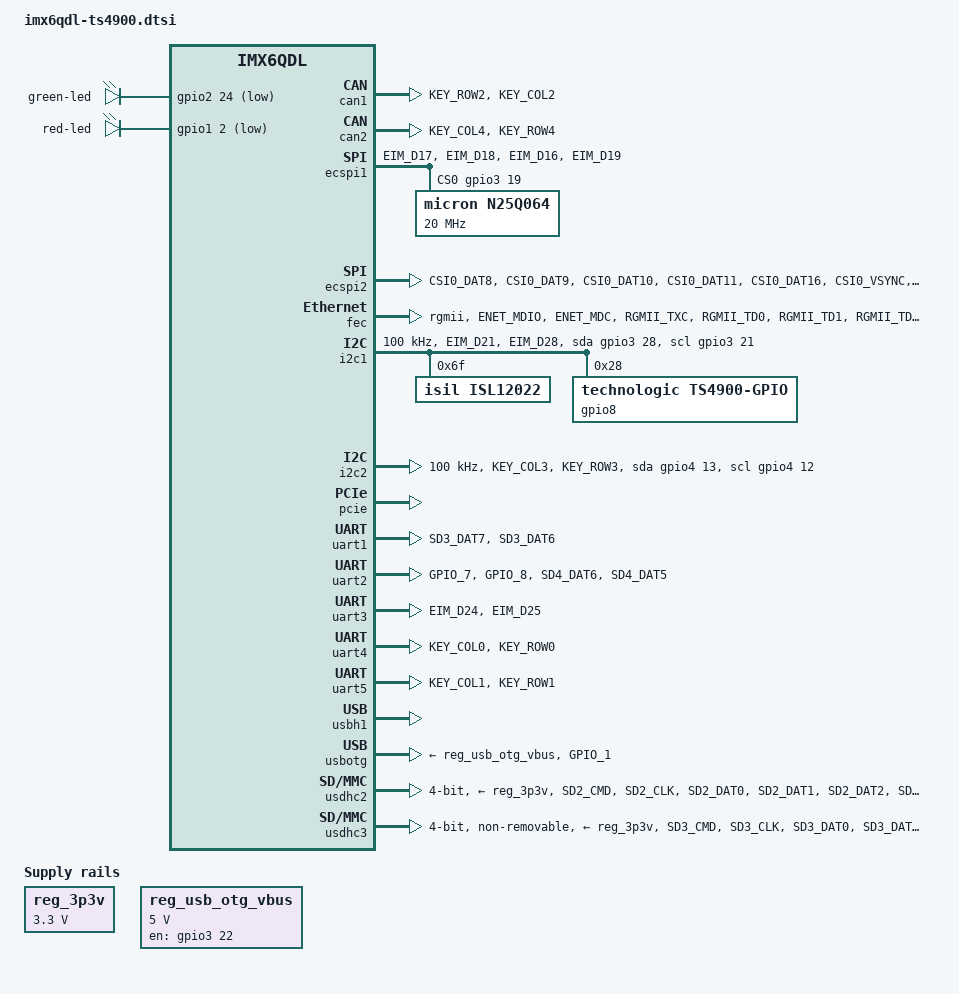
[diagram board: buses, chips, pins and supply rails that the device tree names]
/*
 * Copyright 2015 Technologic Systems
 *
 * This file is dual-licensed: you can use it either under the terms
 * of the GPL or the X11 license, at your option. Note that this dual
 * licensing only applies to this file, and not this project as a
 * whole.
 *
 *  a) This file is free software; you can redistribute it and/or
 *     modify it under the terms of the GNU General Public License
 *     version 2 as published by the Free Software Foundation.
 *
 *     This file is distributed in the hope that it will be useful,
 *     but WITHOUT ANY WARRANTY; without even the implied warranty of
 *     MERCHANTABILITY or FITNESS FOR A PARTICULAR PURPOSE.  See the
 *     GNU General Public License for more details.
 *
 * Or, alternatively,
 *
 *  b) Permission is hereby granted, free of charge, to any person
 *     obtaining a copy of this software and associated documentation
 *     files (the "Software"), to deal in the Software without
 *     restriction, including without limitation the rights to use,
 *     copy, modify, merge, publish, distribute, sublicense, and/or
 *     sell copies of the Software, and to permit persons to whom the
 *     Software is furnished to do so, subject to the following
 *     conditions:
 *
 *     The above copyright notice and this permission notice shall be
 *     included in all copies or substantial portions of the Software.
 *
 *     THE SOFTWARE IS PROVIDED "AS IS", WITHOUT WARRANTY OF ANY KIND,
 *     EXPRESS OR IMPLIED, INCLUDING BUT NOT LIMITED TO THE WARRANTIES
 *     OF MERCHANTABILITY, FITNESS FOR A PARTICULAR PURPOSE AND
 *     NONINFRINGEMENT. IN NO EVENT SHALL THE AUTHORS OR COPYRIGHT
 *     HOLDERS BE LIABLE FOR ANY CLAIM, DAMAGES OR OTHER LIABILITY,
 *     WHETHER IN AN ACTION OF CONTRACT, TORT OR OTHERWISE, ARISING
 *     FROM, OUT OF OR IN CONNECTION WITH THE SOFTWARE OR THE USE OR
 *     OTHER DEALINGS IN THE SOFTWARE.
 */

#include <dt-bindings/gpio/gpio.h>
#include <dt-bindings/interrupt-controller/irq.h>

/ {
	aliases {
		ethernet0 = &fec;
	};

	leds {
		pinctrl-names = "default";
		pinctrl-0 = <&pinctrl_leds1>;
		compatible = "gpio-leds";

		green-led {
			label = "green-led";
			gpios = <&gpio2 24 GPIO_ACTIVE_LOW>;
			default-state = "on";
		};

		red-led {
			label = "red-led";
			gpios = <&gpio1 2 GPIO_ACTIVE_LOW>;
			default-state = "off";
		};
	};

	reg_3p3v: regulator-3p3v {
		compatible = "regulator-fixed";
		regulator-name = "3p3v";
		regulator-min-microvolt = <3300000>;
		regulator-max-microvolt = <3300000>;
	};

	reg_usb_otg_vbus: regulator-usb-otg-vbus {
		compatible = "regulator-fixed";
		regulator-name = "usb_otg_vbus";
		regulator-min-microvolt = <5000000>;
		regulator-max-microvolt = <5000000>;
		gpio = <&gpio3 22 GPIO_ACTIVE_HIGH>;
		enable-active-high;
	};
};

&can1 {
	pinctrl-names = "default";
	pinctrl-0 = <&pinctrl_flexcan1>;
	status = "okay";
};

&can2 {
	pinctrl-names = "default";
	pinctrl-0 = <&pinctrl_flexcan2>;
	status = "okay";
};

&ecspi1 {
	cs-gpios = <&gpio3 19 GPIO_ACTIVE_HIGH>;
	pinctrl-names = "default";
	pinctrl-0 = <&pinctrl_ecspi1>;
	status = "okay";

	n25q064: flash@0 {
		compatible = "micron,n25q064", "jedec,spi-nor";
		reg = <0>;
		spi-max-frequency = <20000000>;
	};
};

&ecspi2 {
	cs-gpios = <&gpio6 2 GPIO_ACTIVE_HIGH>;
	pinctrl-names = "default";
	pinctrl-0 = <&pinctrl_ecspi2>;
	status = "okay";
};

&fec {
	pinctrl-names = "default";
	pinctrl-0 = <&pinctrl_enet>;
	phy-mode = "rgmii";
	status = "okay";
};

&i2c1 {
	clock-frequency = <100000>;
	pinctrl-names = "default", "gpio";
	pinctrl-0 = <&pinctrl_i2c1>;
	pinctrl-1 = <&pinctrl_i2c1_gpio>;
	scl-gpios = <&gpio3 21 GPIO_ACTIVE_HIGH>;
	sda-gpios = <&gpio3 28 GPIO_ACTIVE_HIGH>;
	status = "okay";

	isl12022: rtc@6f {
		compatible = "isil,isl12022";
		reg = <0x6f>;
	};

	gpio8: gpio@28 {
		compatible = "technologic,ts4900-gpio";
		reg = <0x28>;
		#gpio-cells = <2>;
		gpio-controller;
		ngpio = <32>;
	};
};

&i2c2 {
	clock-frequency = <100000>;
	pinctrl-names = "default", "gpio";
	pinctrl-0 = <&pinctrl_i2c2>;
	pinctrl-1 = <&pinctrl_i2c2_gpio>;
	scl-gpios = <&gpio4 12 GPIO_ACTIVE_HIGH>;
	sda-gpios = <&gpio4 13 GPIO_ACTIVE_HIGH>;
	status = "okay";
};

&iomuxc {
	pinctrl-names = "default";
	pinctrl-0 = <&pinctrl_hog>;

	pinctrl_ecspi1: ecspi1grp {
		fsl,pins = <
			MX6QDL_PAD_EIM_D17__ECSPI1_MISO		0x100b1
			MX6QDL_PAD_EIM_D18__ECSPI1_MOSI		0x100b1
			MX6QDL_PAD_EIM_D16__ECSPI1_SCLK		0x100b1
			MX6QDL_PAD_EIM_D19__GPIO3_IO19		0x100b1 /* Onboard flash CS1# */
		>;
	};

	pinctrl_ecspi2: ecspi2grp {
		fsl,pins = <
			MX6QDL_PAD_CSI0_DAT8__ECSPI2_SCLK	0x100b1
			MX6QDL_PAD_CSI0_DAT9__ECSPI2_MOSI	0x100b1
			MX6QDL_PAD_CSI0_DAT10__ECSPI2_MISO	0x100b1
			MX6QDL_PAD_CSI0_DAT11__GPIO5_IO29	0x100b1 /* Offboard CS0# */
			MX6QDL_PAD_CSI0_DAT16__GPIO6_IO02	0x100b1 /* FPGA CS1# */
			MX6QDL_PAD_CSI0_VSYNC__GPIO5_IO21	0x1b0b1 /* FPGA_RESET# */
			MX6QDL_PAD_CSI0_DATA_EN__GPIO5_IO20	0x1b0b1 /* FPGA_DONE */
			MX6QDL_PAD_GPIO_3__XTALOSC_REF_CLK_24M	0x10    /* FPGA 24MHZ */
			MX6QDL_PAD_GPIO_4__GPIO1_IO04		0x1b0b1 /* FPGA_IRQ */
		>;
	};

	pinctrl_enet: enetgrp {
		fsl,pins = <
			MX6QDL_PAD_ENET_MDIO__ENET_MDIO		0x1b0b0
			MX6QDL_PAD_ENET_MDC__ENET_MDC		0x1b0b0
			MX6QDL_PAD_RGMII_TXC__RGMII_TXC		0x1b030
			MX6QDL_PAD_RGMII_TD0__RGMII_TD0		0x1b030
			MX6QDL_PAD_RGMII_TD1__RGMII_TD1		0x1b030
			MX6QDL_PAD_RGMII_TD2__RGMII_TD2		0x1b030
			MX6QDL_PAD_RGMII_TD3__RGMII_TD3		0x1b030
			MX6QDL_PAD_RGMII_TX_CTL__RGMII_TX_CTL	0x1b030
			MX6QDL_PAD_RGMII_RXC__RGMII_RXC		0x1b030
			MX6QDL_PAD_RGMII_RD0__RGMII_RD0		0x1b030
			MX6QDL_PAD_RGMII_RD1__RGMII_RD1		0x1b030
			MX6QDL_PAD_RGMII_RD2__RGMII_RD2		0x1b030
			MX6QDL_PAD_RGMII_RD3__RGMII_RD3		0x1b030
			MX6QDL_PAD_RGMII_RX_CTL__RGMII_RX_CTL	0x1b030
			MX6QDL_PAD_ENET_REF_CLK__ENET_TX_CLK	0x4001b0a8
			MX6QDL_PAD_ENET_TX_EN__GPIO1_IO28	0x1b0b1
			MX6QDL_PAD_DI0_PIN4__GPIO4_IO20		0x1b0b1 /* ETH_PHY_RESET */
		>;
	};

	pinctrl_flexcan1: flexcan1grp {
		fsl,pins = <
			MX6QDL_PAD_KEY_ROW2__FLEXCAN1_RX	0x1b0b1
			MX6QDL_PAD_KEY_COL2__FLEXCAN1_TX	0x1b0b1
		>;
	};

	pinctrl_flexcan2: flexcan2grp {
		fsl,pins = <
			MX6QDL_PAD_KEY_COL4__FLEXCAN2_TX	0x1b0b1
			MX6QDL_PAD_KEY_ROW4__FLEXCAN2_RX	0x1b0b1
		>;
	};

	pinctrl_hog: hoggrp {
		fsl,pins = <
			MX6QDL_PAD_EIM_A17__GPIO2_IO21		0x1b0b1 /* OFF_BD_RESET# */
			MX6QDL_PAD_EIM_A16__GPIO2_IO22		0x1b0b1 /* EN_USB_5V# */
			MX6QDL_PAD_EIM_A19__GPIO2_IO19		0x1b0b1 /* EN_LCD_3.3V */
			MX6QDL_PAD_GPIO_0__CCM_CLKO1		0x130b0 /* Audio CLK */
			MX6QDL_PAD_GPIO_5__GPIO1_IO05		0x1b0b1 /* DIO_1 */
			MX6QDL_PAD_GPIO_6__GPIO1_IO06		0x1b0b1 /* DIO_2 */
			MX6QDL_PAD_GPIO_9__GPIO1_IO09		0x1b0b1 /* DIO_3 */
			MX6QDL_PAD_GPIO_16__GPIO7_IO11		0x1b0b1 /* DIO_4 */
			MX6QDL_PAD_GPIO_17__GPIO7_IO12		0x1b0b1 /* DIO_5 */
			MX6QDL_PAD_GPIO_19__GPIO4_IO05		0x1b0b1 /* DIO_7 */
			MX6QDL_PAD_CSI0_MCLK__GPIO5_IO19	0x1b0b1 /* DIO_8 */
			MX6QDL_PAD_CSI0_PIXCLK__GPIO5_IO18	0x1b0b1 /* DIO_9 */
			MX6QDL_PAD_CSI0_DAT12__GPIO5_IO30	0x1b0b1 /* DIO_0 */
			MX6QDL_PAD_CSI0_DAT13__GPIO5_IO31	0x1b0b1 /* DIO_6 */
			MX6QDL_PAD_CSI0_DAT17__GPIO6_IO03	0x1b0b1 /* CPU_DIO_A */
			MX6QDL_PAD_SD4_DAT7__GPIO2_IO15		0x1b0b1 /* DIO_2 */
			MX6QDL_PAD_SD3_RST__GPIO7_IO08		0x1b0b1 /* CPU_DIO_B */
			MX6QDL_PAD_EIM_LBA__GPIO2_IO27		0x1b0b1 /* BUS_ALE# */
			MX6QDL_PAD_EIM_OE__GPIO2_IO25		0x1b0b1 /* DIO_15 */
			MX6QDL_PAD_EIM_RW__GPIO2_IO26		0x1b0b1 /* BUS_DIR */
			MX6QDL_PAD_EIM_CS0__GPIO2_IO23		0x1b0b1 /* BUS_CS# */
			MX6QDL_PAD_EIM_A18__GPIO2_IO20		0x1b0b1 /* DIO_14 */
			MX6QDL_PAD_EIM_A20__GPIO2_IO18		0x1b0b1 /* DIO_16 */
			MX6QDL_PAD_EIM_A21__GPIO2_IO17		0x1b0b1 /* DIO_12 */
			MX6QDL_PAD_EIM_A22__GPIO2_IO16		0x1b0b1 /* DIO_18 */
			MX6QDL_PAD_EIM_A23__GPIO6_IO06		0x1b0b1 /* DIO_19 */
			MX6QDL_PAD_EIM_A24__GPIO5_IO04		0x1b0b1 /* DIO_20 */
			MX6QDL_PAD_EIM_D31__GPIO3_IO31		0x1b0b1 /* BUS_BHE# */
			MX6QDL_PAD_EIM_BCLK__GPIO6_IO31		0x1b0b1 /* DIO_13 */
			MX6QDL_PAD_EIM_WAIT__GPIO5_IO00		0x1b0b1 /* EIM_WAIT# */
			MX6QDL_PAD_EIM_EB1__GPIO2_IO29		0x1b0b1 /* DIO_10 */
			MX6QDL_PAD_EIM_DA0__GPIO3_IO00		0x1b0b1 /* MUX_AD_00 */
			MX6QDL_PAD_EIM_DA1__GPIO3_IO01		0x1b0b1 /* MUX_AD_01 */
			MX6QDL_PAD_EIM_DA2__GPIO3_IO02		0x1b0b1 /* MUX_AD_02 */
			MX6QDL_PAD_EIM_DA3__GPIO3_IO03		0x1b0b1 /* MUX_AD_03 */
			MX6QDL_PAD_EIM_DA4__GPIO3_IO04		0x1b0b1 /* MUX_AD_04 */
			MX6QDL_PAD_EIM_DA5__GPIO3_IO05		0x1b0b1 /* MUX_AD_05 */
			MX6QDL_PAD_EIM_DA6__GPIO3_IO06		0x1b0b1 /* MUX_AD_06 */
			MX6QDL_PAD_EIM_DA7__GPIO3_IO07		0x1b0b1 /* MUX_AD_07 */
			MX6QDL_PAD_EIM_DA8__GPIO3_IO08		0x1b0b1 /* MUX_AD_08 */
			MX6QDL_PAD_EIM_DA9__GPIO3_IO09		0x1b0b1 /* MUX_AD_09 */
			MX6QDL_PAD_EIM_DA10__GPIO3_IO10		0x1b0b1 /* MUX_AD_10 */
			MX6QDL_PAD_EIM_DA11__GPIO3_IO11		0x1b0b1 /* MUX_AD_11 */
			MX6QDL_PAD_EIM_DA12__GPIO3_IO12		0x1b0b1 /* MUX_AD_12 */
			MX6QDL_PAD_EIM_DA13__GPIO3_IO13		0x1b0b1 /* MUX_AD_13 */
			MX6QDL_PAD_EIM_DA14__GPIO3_IO14		0x1b0b1 /* MUX_AD_14 */
			MX6QDL_PAD_EIM_DA15__GPIO3_IO15		0x1b0b1 /* MUX_AD_15 */
			MX6QDL_PAD_DI0_DISP_CLK__GPIO4_IO16	0x1b0b1 /* LCD_CLK */
			MX6QDL_PAD_DI0_PIN15__GPIO4_IO17	0x1b0b1 /* DE */
			MX6QDL_PAD_DI0_PIN2__GPIO4_IO18		0x1b0b1 /* Hsync */
			MX6QDL_PAD_DI0_PIN3__GPIO4_IO19		0x1b0b1 /* Vsync */
			MX6QDL_PAD_DISP0_DAT0__GPIO4_IO21	0x1b0b1
			MX6QDL_PAD_DISP0_DAT1__GPIO4_IO22	0x1b0b1
			MX6QDL_PAD_DISP0_DAT2__GPIO4_IO23	0x1b0b1
			MX6QDL_PAD_DISP0_DAT3__GPIO4_IO24	0x1b0b1
			MX6QDL_PAD_DISP0_DAT4__GPIO4_IO25	0x1b0b1
			MX6QDL_PAD_DISP0_DAT5__GPIO4_IO26	0x1b0b1
			MX6QDL_PAD_DISP0_DAT6__GPIO4_IO27	0x1b0b1
			MX6QDL_PAD_DISP0_DAT7__GPIO4_IO28	0x1b0b1
			MX6QDL_PAD_DISP0_DAT8__GPIO4_IO29	0x1b0b1
			MX6QDL_PAD_DISP0_DAT9__GPIO4_IO30	0x1b0b1
			MX6QDL_PAD_DISP0_DAT10__GPIO4_IO31	0x1b0b1
			MX6QDL_PAD_DISP0_DAT11__GPIO5_IO05	0x1b0b1
			MX6QDL_PAD_DISP0_DAT12__GPIO5_IO06	0x1b0b1
			MX6QDL_PAD_DISP0_DAT13__GPIO5_IO07	0x1b0b1
			MX6QDL_PAD_DISP0_DAT14__GPIO5_IO08	0x1b0b1
			MX6QDL_PAD_DISP0_DAT15__GPIO5_IO09	0x1b0b1
			MX6QDL_PAD_DISP0_DAT16__GPIO5_IO10	0x1b0b1
			MX6QDL_PAD_DISP0_DAT17__GPIO5_IO11	0x1b0b1
			MX6QDL_PAD_DISP0_DAT18__GPIO5_IO12	0x1b0b1
			MX6QDL_PAD_DISP0_DAT19__GPIO5_IO13	0x1b0b1
			MX6QDL_PAD_DISP0_DAT20__GPIO5_IO14	0x1b0b1
			MX6QDL_PAD_DISP0_DAT21__GPIO5_IO15	0x1b0b1
			MX6QDL_PAD_DISP0_DAT22__GPIO5_IO16	0x1b0b1
			MX6QDL_PAD_DISP0_DAT23__GPIO5_IO17	0x1b0b1
		>;
	};

	pinctrl_i2c1: i2c1grp {
		fsl,pins = <
			MX6QDL_PAD_EIM_D21__I2C1_SCL		0x4001b8b1
			MX6QDL_PAD_EIM_D28__I2C1_SDA		0x4001b8b1
		>;
	};

	pinctrl_i2c1_gpio: i2c1gpiogrp {
		fsl,pins = <
			MX6QDL_PAD_EIM_D21__GPIO3_IO21		0x4001b8b1
			MX6QDL_PAD_EIM_D28__GPIO3_IO28		0x4001b8b1
		>;
	};

	pinctrl_i2c2: i2c2grp {
		fsl,pins = <
			MX6QDL_PAD_KEY_COL3__I2C2_SCL		0x4001b8b1
			MX6QDL_PAD_KEY_ROW3__I2C2_SDA		0x4001b8b1
		>;
	};

	pinctrl_i2c2_gpio: i2c2gpiogrp {
		fsl,pins = <
			MX6QDL_PAD_KEY_COL3__GPIO4_IO12		0x4001b8b1
			MX6QDL_PAD_KEY_ROW3__GPIO4_IO13		0x4001b8b1
		>;
	};

	pinctrl_leds1: leds1grp {
		fsl,pins = <
			MX6QDL_PAD_GPIO_2__GPIO1_IO02		0x1b0b1 /* RED_LED# */
			MX6QDL_PAD_EIM_CS1__GPIO2_IO24		0x1b0b1 /* GREEN_LED# */
		>;
	};

	pinctrl_uart1: uart1grp {
		fsl,pins = <
			MX6QDL_PAD_SD3_DAT7__UART1_TX_DATA	0x1b0b1
			MX6QDL_PAD_SD3_DAT6__UART1_RX_DATA	0x1b0b1
		>;
	};

	pinctrl_uart2: uart2grp {
		fsl,pins = <
			MX6QDL_PAD_GPIO_7__UART2_TX_DATA	0x1b0b1
			MX6QDL_PAD_GPIO_8__UART2_RX_DATA	0x1b0b1
			MX6QDL_PAD_SD4_DAT6__UART2_CTS_B	0x1b0b1
			MX6QDL_PAD_SD4_DAT5__UART2_RTS_B	0x1b0b1
		>;
	};

	pinctrl_uart3: uart3grp {
		fsl,pins = <
			MX6QDL_PAD_EIM_D24__UART3_TX_DATA	0x1b0b1
			MX6QDL_PAD_EIM_D25__UART3_RX_DATA	0x1b0b1
		>;
	};

	pinctrl_uart4: uart4grp {
		fsl,pins = <
			MX6QDL_PAD_KEY_COL0__UART4_TX_DATA	0x1b0b1
			MX6QDL_PAD_KEY_ROW0__UART4_RX_DATA	0x1b0b1
		>;
	};

	pinctrl_uart5: uart5grp {
		fsl,pins = <
			MX6QDL_PAD_KEY_COL1__UART5_TX_DATA	0x1b0b1
			MX6QDL_PAD_KEY_ROW1__UART5_RX_DATA	0x1b0b1
		>;
	};

	pinctrl_usbotg: usbotggrp {
		fsl,pins = <
			MX6QDL_PAD_GPIO_1__USB_OTG_ID		0x17059
		>;
	};

	pinctrl_usdhc1: usdhc1grp {
		fsl,pins = <
			MX6QDL_PAD_SD1_CMD__SD1_CMD		0x17059
			MX6QDL_PAD_SD1_CLK__SD1_CLK		0x10059
			MX6QDL_PAD_SD1_DAT0__SD1_DATA0		0x17059
			MX6QDL_PAD_SD1_DAT1__SD1_DATA1		0x17059
			MX6QDL_PAD_SD1_DAT2__SD1_DATA2		0x17059
			MX6QDL_PAD_SD1_DAT3__SD1_DATA3		0x17059
			MX6QDL_PAD_ENET_RXD1__GPIO1_IO26	0x17059 /* WIFI IRQ */
		>;
	};

	pinctrl_usdhc2: usdhc2grp {
		fsl,pins = <
			MX6QDL_PAD_SD2_CMD__SD2_CMD		0x17059
			MX6QDL_PAD_SD2_CLK__SD2_CLK		0x10059
			MX6QDL_PAD_SD2_DAT0__SD2_DATA0		0x17059
			MX6QDL_PAD_SD2_DAT1__SD2_DATA1		0x17059
			MX6QDL_PAD_SD2_DAT2__SD2_DATA2		0x17059
			MX6QDL_PAD_SD2_DAT3__SD2_DATA3		0x17059
			MX6QDL_PAD_EIM_EB0__GPIO2_IO28		0x1b0b1 /* EN_SD_POWER# */
		>;
	};

	pinctrl_usdhc3: usdhc3grp {
		fsl,pins = <
			MX6QDL_PAD_SD3_CMD__SD3_CMD		0x17059
			MX6QDL_PAD_SD3_CLK__SD3_CLK		0x10059
			MX6QDL_PAD_SD3_DAT0__SD3_DATA0		0x17059
			MX6QDL_PAD_SD3_DAT1__SD3_DATA1		0x17059
			MX6QDL_PAD_SD3_DAT2__SD3_DATA2		0x17059
			MX6QDL_PAD_SD3_DAT3__SD3_DATA3		0x17059
		>;
	};
};

&pcie {
	status = "okay";
};

&uart1 {
	pinctrl-names = "default";
	pinctrl-0 = <&pinctrl_uart1>;
	status = "okay";
};

&uart2 {
	pinctrl-names = "default";
	pinctrl-0 = <&pinctrl_uart2>;
	uart-has-rtscts;
	status = "okay";
};

&uart3 {
	pinctrl-names = "default";
	pinctrl-0 = <&pinctrl_uart3>;
	status = "okay";
};

&uart4 {
	pinctrl-names = "default";
	pinctrl-0 = <&pinctrl_uart4>;
	status = "okay";
};

&uart5 {
	pinctrl-names = "default";
	pinctrl-0 = <&pinctrl_uart5>;
	status = "okay";
};

&usbh1 {
	status = "okay";
};

&usbotg {
	vbus-supply = <&reg_usb_otg_vbus>;
	pinctrl-names = "default";
	pinctrl-0 = <&pinctrl_usbotg>;
	disable-over-current;
	status = "okay";
};

/* SD */
&usdhc2 {
	pinctrl-names = "default";
	pinctrl-0 = <&pinctrl_usdhc2>;
	vmmc-supply = <&reg_3p3v>;
	bus-width = <4>;
	fsl,wp-controller;
	status = "okay";
};

/* eMMC */
&usdhc3 {
	pinctrl-names = "default";
	pinctrl-0 = <&pinctrl_usdhc3>;
	vmmc-supply = <&reg_3p3v>;
	bus-width = <4>;
	non-removable;
	status = "okay";
};
